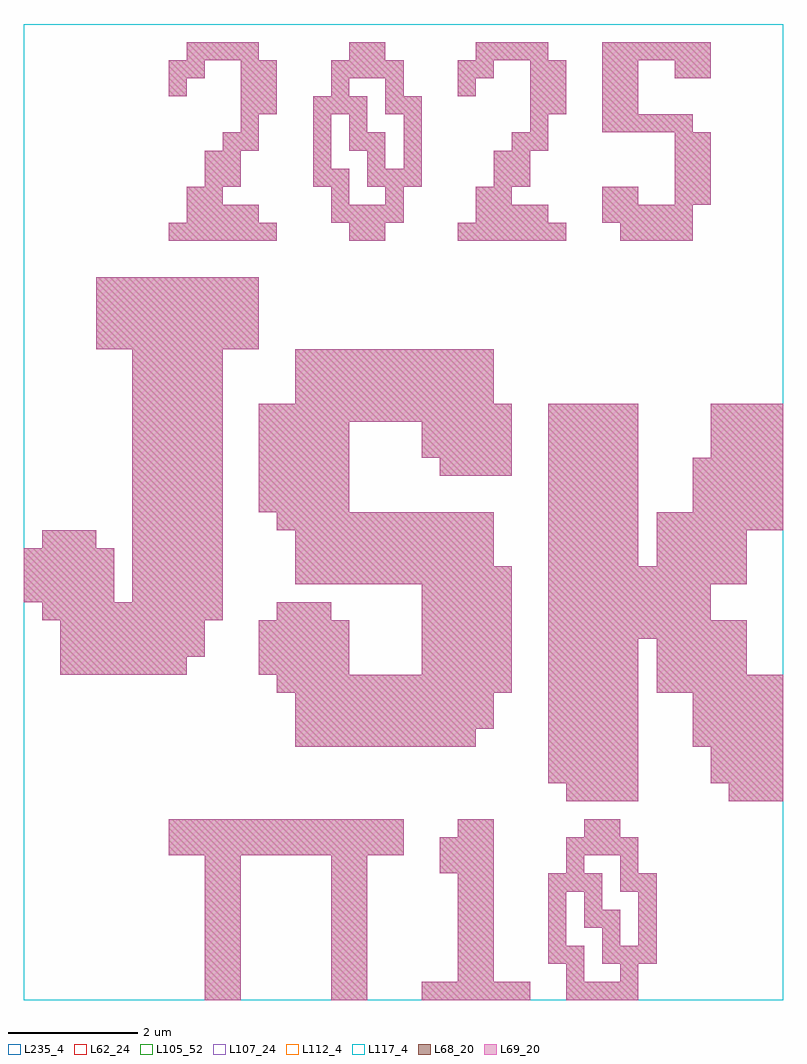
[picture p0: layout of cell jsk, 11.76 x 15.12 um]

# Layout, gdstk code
import gdstk
lib = gdstk.Library(unit=1e-6, precision=1e-09)
def R(c, l, rs):  # rectangles x0, y0, x1, y1
    for r in rs: c.add(gdstk.rectangle(r[:2], r[2:], *l))
def A(c, l, x, y, w, h, nx, ny, dx, dy):  # array of equal rectangles
    R(c, l, [(x+i*dx, y+j*dy, x+i*dx+w, y+j*dy+h) for i in range(nx) for j in range(ny)])
L62_24 = (62, 24)
L68_20 = (68, 20)
L69_20 = (69, 20)
L105_52 = (105, 52)
L107_24 = (107, 24)
L112_4 = (112, 4)
L117_4 = (117, 4)
L235_4 = (235, 4)

jsk = lib.new_cell('jsk')
R(jsk, L62_24, [(0,0,11.76,15.12)])
A(jsk, L68_20, 2.8, 0, 0.28, 0.28, 1, 8, 0, 0.28)
A(jsk, L68_20, 3.08, 0, 0.28, 0.28, 1, 8, 0, 0.28)
A(jsk, L68_20, 4.76, 0, 0.28, 0.28, 1, 8, 0, 0.28)
A(jsk, L68_20, 5.04, 0, 0.28, 0.28, 1, 8, 0, 0.28)
A(jsk, L68_20, 6.16, 0, 0.28, 0.28, 6, 1, 0.28, 0)
A(jsk, L68_20, 8.4, 0, 0.28, 0.28, 4, 2, 0.28, 2.24)
A(jsk, L68_20, 6.72, 0.28, 0.28, 0.28, 1, 6, 0, 0.28)
A(jsk, L68_20, 7, 0.28, 0.28, 0.28, 1, 6, 0, 0.28)
A(jsk, L68_20, 8.12, 0.56, 0.28, 0.28, 1, 4, 0, 0.28)
A(jsk, L68_20, 8.96, 0.56, 0.28, 0.28, 3, 1, 0.28, 0)
A(jsk, L68_20, 9.52, 0.84, 0.28, 0.28, 1, 4, 0, 0.28)
A(jsk, L68_20, 8.12, 1.68, 0.28, 0.28, 3, 1, 0.28, 0)
A(jsk, L68_20, 6.44, 1.96, 0.28, 0.28, 3, 2, 0.28, 0.28)
A(jsk, L68_20, 2.24, 2.24, 0.28, 0.28, 13, 2, 0.28, 0.28)
A(jsk, L68_20, 8.4, 3.08, 0.28, 0.28, 4, 1, 0.28, 0)
A(jsk, L68_20, 10.92, 3.08, 0.28, 0.28, 3, 1, 0.28, 0)
A(jsk, L68_20, 8.12, 3.36, 0.28, 0.28, 5, 8, 0.28, 0.28)
A(jsk, L68_20, 10.64, 3.36, 0.28, 0.28, 4, 2, 0.28, 0.28)
A(jsk, L68_20, 4.2, 3.92, 0.28, 0.28, 10, 1, 0.28, 0)
A(jsk, L68_20, 10.36, 3.92, 0.28, 0.28, 5, 3, 0.28, 0.28)
A(jsk, L68_20, 4.2, 4.2, 0.28, 0.28, 11, 2, 0.28, 0.28)
A(jsk, L68_20, 3.92, 4.76, 0.28, 0.28, 13, 1, 0.28, 0)
A(jsk, L68_20, 9.8, 4.76, 0.28, 0.28, 7, 2, 0.28, 2.52)
A(jsk, L68_20, 0.56, 5.04, 0.28, 0.28, 7, 1, 0.28, 0)
A(jsk, L68_20, 3.64, 5.04, 0.28, 0.28, 5, 3, 0.28, 0.28)
A(jsk, L68_20, 6.16, 5.04, 0.28, 0.28, 5, 5, 0.28, 0.28)
A(jsk, L68_20, 9.8, 5.04, 0.28, 0.28, 5, 2, 0.28, 0.28)
A(jsk, L68_20, 0.56, 5.32, 0.28, 0.28, 8, 2, 0.28, 0.28)
A(jsk, L68_20, 8.12, 5.6, 0.28, 0.28, 11, 2, 0.28, 0.84)
A(jsk, L68_20, 0.28, 5.88, 0.28, 0.28, 10, 1, 0.28, 0)
A(jsk, L68_20, 3.92, 5.88, 0.28, 0.28, 3, 1, 0.28, 0)
A(jsk, L68_20, 8.12, 5.88, 0.28, 0.28, 9, 2, 0.28, 0.28)
A(jsk, L68_20, 0, 6.16, 0.28, 0.28, 5, 3, 0.28, 0.28)
A(jsk, L68_20, 1.68, 6.16, 0.28, 0.28, 5, 14, 0.28, 0.28)
A(jsk, L68_20, 4.2, 6.44, 0.28, 0.28, 12, 1, 0.28, 0)
A(jsk, L68_20, 4.2, 6.72, 0.28, 0.28, 11, 2, 0.28, 0.28)
A(jsk, L68_20, 8.12, 6.72, 0.28, 0.28, 5, 9, 0.28, 0.28)
A(jsk, L68_20, 9.8, 6.72, 0.28, 0.28, 5, 2, 0.28, 0.28)
A(jsk, L68_20, 0.28, 7, 0.28, 0.28, 3, 1, 0.28, 0)
A(jsk, L68_20, 3.92, 7.28, 0.28, 0.28, 12, 1, 0.28, 0)
A(jsk, L68_20, 3.64, 7.56, 0.28, 0.28, 5, 5, 0.28, 0.28)
A(jsk, L68_20, 10.36, 7.56, 0.28, 0.28, 5, 3, 0.28, 0.28)
A(jsk, L68_20, 6.44, 8.12, 0.28, 0.28, 4, 1, 0.28, 0)
A(jsk, L68_20, 6.16, 8.4, 0.28, 0.28, 5, 2, 0.28, 0.28)
A(jsk, L68_20, 10.64, 8.4, 0.28, 0.28, 4, 3, 0.28, 0.28)
A(jsk, L68_20, 3.64, 8.96, 0.28, 0.28, 14, 1, 0.28, 0)
A(jsk, L68_20, 4.2, 9.24, 0.28, 0.28, 11, 3, 0.28, 0.28)
A(jsk, L68_20, 1.12, 10.08, 0.28, 0.28, 9, 4, 0.28, 0.28)
A(jsk, L68_20, 2.24, 11.76, 0.28, 0.28, 6, 1, 0.28, 0)
A(jsk, L68_20, 6.72, 11.76, 0.28, 0.28, 6, 1, 0.28, 0)
A(jsk, L68_20, 9.24, 11.76, 0.28, 0.28, 4, 1, 0.28, 0)
A(jsk, L68_20, 2.52, 12.04, 0.28, 0.28, 4, 2, 0.28, 2.52)
A(jsk, L68_20, 4.76, 12.04, 0.28, 0.28, 4, 2, 0.28, 2.24)
A(jsk, L68_20, 7, 12.04, 0.28, 0.28, 4, 2, 0.28, 2.52)
A(jsk, L68_20, 8.96, 12.04, 0.28, 0.28, 5, 2, 0.28, 1.4)
A(jsk, L68_20, 2.8, 12.32, 0.28, 0.28, 1, 3, 0, 0.28)
A(jsk, L68_20, 7.28, 12.32, 0.28, 0.28, 1, 3, 0, 0.28)
A(jsk, L68_20, 10.08, 12.32, 0.28, 0.28, 1, 4, 0, 0.28)
A(jsk, L68_20, 10.36, 12.32, 0.28, 0.28, 1, 4, 0, 0.28)
A(jsk, L68_20, 3.08, 12.6, 0.28, 0.28, 1, 3, 0, 0.28)
A(jsk, L68_20, 4.48, 12.6, 0.28, 0.28, 1, 4, 0, 0.28)
A(jsk, L68_20, 5.32, 12.6, 0.28, 0.28, 3, 1, 0.28, 0)
A(jsk, L68_20, 7.56, 12.6, 0.28, 0.28, 1, 3, 0, 0.28)
A(jsk, L68_20, 5.88, 12.88, 0.28, 0.28, 1, 4, 0, 0.28)
A(jsk, L68_20, 3.36, 13.16, 0.28, 0.28, 1, 5, 0, 0.28)
A(jsk, L68_20, 7.84, 13.16, 0.28, 0.28, 1, 3, 0, 0.28)
A(jsk, L68_20, 3.64, 13.72, 0.28, 0.28, 1, 3, 0, 0.28)
A(jsk, L68_20, 4.48, 13.72, 0.28, 0.28, 3, 1, 0.28, 0)
A(jsk, L68_20, 8.12, 13.72, 0.28, 0.28, 1, 3, 0, 0.28)
A(jsk, L68_20, 8.96, 13.72, 0.28, 0.28, 1, 3, 0, 0.28)
A(jsk, L68_20, 9.24, 13.72, 0.28, 0.28, 1, 3, 0, 0.28)
A(jsk, L68_20, 5.6, 14, 0.28, 0.28, 3, 1, 1.12, 0)
A(jsk, L68_20, 8.96, 14.56, 0.28, 0.28, 6, 1, 0.28, 0)
R(jsk, L68_20, [(8.4,0.28,8.68,0.56), (9.24,0.28,9.52,0.56), (8.4,0.56,8.68,0.84), (8.96,0.84,9.24,1.12), (8.68,1.12,8.96,1.4), (8.96,1.12,9.24,1.4), (8.68,1.4,8.96,1.68), (9.24,1.68,9.52,1.96), (8.4,1.96,8.68,2.24), (9.24,1.96,9.52,2.24), (6.72,2.52,7,2.8), (7,2.52,7.28,2.8), (8.68,2.52,8.96,2.8), (8.96,2.52,9.24,2.8), (5.04,11.76,5.32,12.04), (5.32,11.76,5.6,12.04), (2.52,12.32,2.8,12.6), (4.76,12.32,5.04,12.6), (5.6,12.32,5.88,12.6), (7,12.32,7.28,12.6), (8.96,12.32,9.24,12.6), (9.24,12.32,9.52,12.6), (4.76,12.6,5.04,12.88), (5.32,12.88,5.6,13.16), (5.04,13.16,5.32,13.44), (5.32,13.16,5.6,13.44), (5.04,13.44,5.32,13.72), (5.6,13.72,5.88,14), (2.24,14,2.52,14.28), (4.76,14,5.04,14.28), (2.24,14.28,2.52,14.56), (2.52,14.28,2.8,14.56), (6.72,14.28,7,14.56), (7,14.28,7.28,14.56), (7.84,14.28,8.12,14.56), (10.08,14.28,10.36,14.56), (10.36,14.28,10.64,14.56), (5.04,14.56,5.32,14.84), (5.32,14.56,5.6,14.84)])
A(jsk, L69_20, 2.8, 0, 0.28, 0.28, 1, 8, 0, 0.28)
A(jsk, L69_20, 3.08, 0, 0.28, 0.28, 1, 8, 0, 0.28)
A(jsk, L69_20, 4.76, 0, 0.28, 0.28, 1, 8, 0, 0.28)
A(jsk, L69_20, 5.04, 0, 0.28, 0.28, 1, 8, 0, 0.28)
A(jsk, L69_20, 6.16, 0, 0.28, 0.28, 6, 1, 0.28, 0)
A(jsk, L69_20, 8.4, 0, 0.28, 0.28, 4, 2, 0.28, 2.24)
A(jsk, L69_20, 6.72, 0.28, 0.28, 0.28, 1, 6, 0, 0.28)
A(jsk, L69_20, 7, 0.28, 0.28, 0.28, 1, 6, 0, 0.28)
A(jsk, L69_20, 8.12, 0.56, 0.28, 0.28, 1, 4, 0, 0.28)
A(jsk, L69_20, 8.96, 0.56, 0.28, 0.28, 3, 1, 0.28, 0)
A(jsk, L69_20, 9.52, 0.84, 0.28, 0.28, 1, 4, 0, 0.28)
A(jsk, L69_20, 8.12, 1.68, 0.28, 0.28, 3, 1, 0.28, 0)
A(jsk, L69_20, 6.44, 1.96, 0.28, 0.28, 3, 2, 0.28, 0.28)
A(jsk, L69_20, 2.24, 2.24, 0.28, 0.28, 13, 2, 0.28, 0.28)
A(jsk, L69_20, 8.4, 3.08, 0.28, 0.28, 4, 1, 0.28, 0)
A(jsk, L69_20, 10.92, 3.08, 0.28, 0.28, 3, 1, 0.28, 0)
A(jsk, L69_20, 8.12, 3.36, 0.28, 0.28, 5, 8, 0.28, 0.28)
A(jsk, L69_20, 10.64, 3.36, 0.28, 0.28, 4, 2, 0.28, 0.28)
A(jsk, L69_20, 4.2, 3.92, 0.28, 0.28, 10, 1, 0.28, 0)
A(jsk, L69_20, 10.36, 3.92, 0.28, 0.28, 5, 3, 0.28, 0.28)
A(jsk, L69_20, 4.2, 4.2, 0.28, 0.28, 11, 2, 0.28, 0.28)
A(jsk, L69_20, 3.92, 4.76, 0.28, 0.28, 13, 1, 0.28, 0)
A(jsk, L69_20, 9.8, 4.76, 0.28, 0.28, 7, 2, 0.28, 2.52)
A(jsk, L69_20, 0.56, 5.04, 0.28, 0.28, 7, 1, 0.28, 0)
A(jsk, L69_20, 3.64, 5.04, 0.28, 0.28, 5, 3, 0.28, 0.28)
A(jsk, L69_20, 6.16, 5.04, 0.28, 0.28, 5, 5, 0.28, 0.28)
A(jsk, L69_20, 9.8, 5.04, 0.28, 0.28, 5, 2, 0.28, 0.28)
A(jsk, L69_20, 0.56, 5.32, 0.28, 0.28, 8, 2, 0.28, 0.28)
A(jsk, L69_20, 8.12, 5.6, 0.28, 0.28, 11, 2, 0.28, 0.84)
A(jsk, L69_20, 0.28, 5.88, 0.28, 0.28, 10, 1, 0.28, 0)
A(jsk, L69_20, 3.92, 5.88, 0.28, 0.28, 3, 1, 0.28, 0)
A(jsk, L69_20, 8.12, 5.88, 0.28, 0.28, 9, 2, 0.28, 0.28)
A(jsk, L69_20, 0, 6.16, 0.28, 0.28, 5, 3, 0.28, 0.28)
A(jsk, L69_20, 1.68, 6.16, 0.28, 0.28, 5, 14, 0.28, 0.28)
A(jsk, L69_20, 4.2, 6.44, 0.28, 0.28, 12, 1, 0.28, 0)
A(jsk, L69_20, 4.2, 6.72, 0.28, 0.28, 11, 2, 0.28, 0.28)
A(jsk, L69_20, 8.12, 6.72, 0.28, 0.28, 5, 9, 0.28, 0.28)
A(jsk, L69_20, 9.8, 6.72, 0.28, 0.28, 5, 2, 0.28, 0.28)
A(jsk, L69_20, 0.28, 7, 0.28, 0.28, 3, 1, 0.28, 0)
A(jsk, L69_20, 3.92, 7.28, 0.28, 0.28, 12, 1, 0.28, 0)
A(jsk, L69_20, 3.64, 7.56, 0.28, 0.28, 5, 5, 0.28, 0.28)
A(jsk, L69_20, 10.36, 7.56, 0.28, 0.28, 5, 3, 0.28, 0.28)
A(jsk, L69_20, 6.44, 8.12, 0.28, 0.28, 4, 1, 0.28, 0)
A(jsk, L69_20, 6.16, 8.4, 0.28, 0.28, 5, 2, 0.28, 0.28)
A(jsk, L69_20, 10.64, 8.4, 0.28, 0.28, 4, 3, 0.28, 0.28)
A(jsk, L69_20, 3.64, 8.96, 0.28, 0.28, 14, 1, 0.28, 0)
A(jsk, L69_20, 4.2, 9.24, 0.28, 0.28, 11, 3, 0.28, 0.28)
A(jsk, L69_20, 1.12, 10.08, 0.28, 0.28, 9, 4, 0.28, 0.28)
A(jsk, L69_20, 2.24, 11.76, 0.28, 0.28, 6, 1, 0.28, 0)
A(jsk, L69_20, 6.72, 11.76, 0.28, 0.28, 6, 1, 0.28, 0)
A(jsk, L69_20, 9.24, 11.76, 0.28, 0.28, 4, 1, 0.28, 0)
A(jsk, L69_20, 2.52, 12.04, 0.28, 0.28, 4, 2, 0.28, 2.52)
A(jsk, L69_20, 4.76, 12.04, 0.28, 0.28, 4, 2, 0.28, 2.24)
A(jsk, L69_20, 7, 12.04, 0.28, 0.28, 4, 2, 0.28, 2.52)
A(jsk, L69_20, 8.96, 12.04, 0.28, 0.28, 5, 2, 0.28, 1.4)
A(jsk, L69_20, 2.8, 12.32, 0.28, 0.28, 1, 3, 0, 0.28)
A(jsk, L69_20, 7.28, 12.32, 0.28, 0.28, 1, 3, 0, 0.28)
A(jsk, L69_20, 10.08, 12.32, 0.28, 0.28, 1, 4, 0, 0.28)
A(jsk, L69_20, 10.36, 12.32, 0.28, 0.28, 1, 4, 0, 0.28)
A(jsk, L69_20, 3.08, 12.6, 0.28, 0.28, 1, 3, 0, 0.28)
A(jsk, L69_20, 4.48, 12.6, 0.28, 0.28, 1, 4, 0, 0.28)
A(jsk, L69_20, 5.32, 12.6, 0.28, 0.28, 3, 1, 0.28, 0)
A(jsk, L69_20, 7.56, 12.6, 0.28, 0.28, 1, 3, 0, 0.28)
A(jsk, L69_20, 5.88, 12.88, 0.28, 0.28, 1, 4, 0, 0.28)
A(jsk, L69_20, 3.36, 13.16, 0.28, 0.28, 1, 5, 0, 0.28)
A(jsk, L69_20, 7.84, 13.16, 0.28, 0.28, 1, 3, 0, 0.28)
A(jsk, L69_20, 3.64, 13.72, 0.28, 0.28, 1, 3, 0, 0.28)
A(jsk, L69_20, 4.48, 13.72, 0.28, 0.28, 3, 1, 0.28, 0)
A(jsk, L69_20, 8.12, 13.72, 0.28, 0.28, 1, 3, 0, 0.28)
A(jsk, L69_20, 8.96, 13.72, 0.28, 0.28, 1, 3, 0, 0.28)
A(jsk, L69_20, 9.24, 13.72, 0.28, 0.28, 1, 3, 0, 0.28)
A(jsk, L69_20, 5.6, 14, 0.28, 0.28, 3, 1, 1.12, 0)
A(jsk, L69_20, 8.96, 14.56, 0.28, 0.28, 6, 1, 0.28, 0)
R(jsk, L69_20, [(8.4,0.28,8.68,0.56), (9.24,0.28,9.52,0.56), (8.4,0.56,8.68,0.84), (8.96,0.84,9.24,1.12), (8.68,1.12,8.96,1.4), (8.96,1.12,9.24,1.4), (8.68,1.4,8.96,1.68), (9.24,1.68,9.52,1.96), (8.4,1.96,8.68,2.24), (9.24,1.96,9.52,2.24), (6.72,2.52,7,2.8), (7,2.52,7.28,2.8), (8.68,2.52,8.96,2.8), (8.96,2.52,9.24,2.8), (5.04,11.76,5.32,12.04), (5.32,11.76,5.6,12.04), (2.52,12.32,2.8,12.6), (4.76,12.32,5.04,12.6), (5.6,12.32,5.88,12.6), (7,12.32,7.28,12.6), (8.96,12.32,9.24,12.6), (9.24,12.32,9.52,12.6), (4.76,12.6,5.04,12.88), (5.32,12.88,5.6,13.16), (5.04,13.16,5.32,13.44), (5.32,13.16,5.6,13.44), (5.04,13.44,5.32,13.72), (5.6,13.72,5.88,14), (2.24,14,2.52,14.28), (4.76,14,5.04,14.28), (2.24,14.28,2.52,14.56), (2.52,14.28,2.8,14.56), (6.72,14.28,7,14.56), (7,14.28,7.28,14.56), (7.84,14.28,8.12,14.56), (10.08,14.28,10.36,14.56), (10.36,14.28,10.64,14.56), (5.04,14.56,5.32,14.84), (5.32,14.56,5.6,14.84)])
R(jsk, L105_52, [(0,0,11.76,15.12)])
R(jsk, L107_24, [(0,0,11.76,15.12)])
R(jsk, L112_4, [(0,0,11.76,15.12)])
R(jsk, L117_4, [(0,0,11.76,15.12)])
R(jsk, L235_4, [(0,0,11.76,15.12)])

lib.write_gds('jsk.gds')
